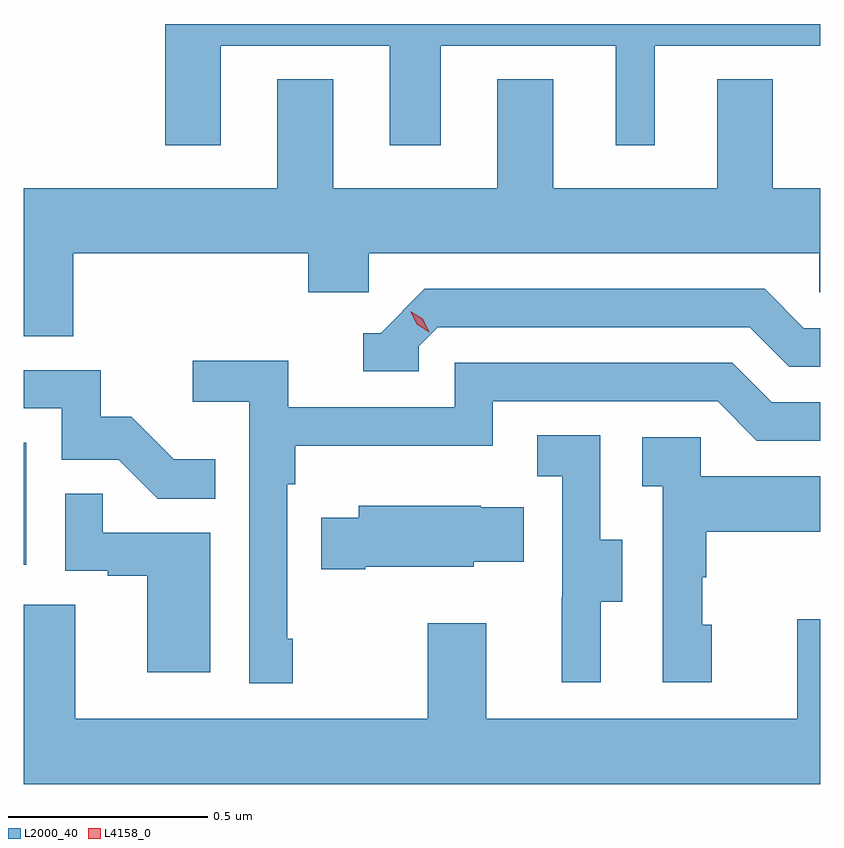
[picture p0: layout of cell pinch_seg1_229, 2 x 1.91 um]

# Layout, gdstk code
import gdstk
lib = gdstk.Library(unit=1e-6, precision=1e-09)
def R(c, l, rs):  # rectangles x0, y0, x1, y1
    for r in rs: c.add(gdstk.rectangle(r[:2], r[2:], *l))
def P(c, l, *ps):  # polygons
    for p in ps: c.add(gdstk.Polygon(p, *l))
L2000_40 = (2000, 40)
L4158_0 = (4158, 0)

pinch_seg1_229 = lib.new_cell('pinch_seg1_229')
R(pinch_seg1_229, L2000_40, [(995.314,564.27,995.32,564.577)])
P(pinch_seg1_229, L2000_40, [(995.809,565.574),(996.233,565.574),(996.233,565.323),(996.361,565.323),(996.361,565.574),(996.8,565.574),(996.8,565.323),(996.898,565.323),(996.898,565.574),(997.314,565.574),(997.314,565.628),(995.669,565.628),(995.669,565.323),(995.809,565.323)],
  [(995.438,565.052),(996.029,565.052),(996.029,564.954),(996.18,564.954),(996.18,565.052),(997.311,565.052),(997.311,564.954),(997.314,564.954),(997.314,565.216),(997.195,565.216),(997.195,565.489),(997.055,565.489),(997.055,565.216),(996.643,565.216),(996.643,565.489),(996.503,565.489),(996.503,565.216),(996.091,565.216),(996.091,565.489),(995.951,565.489),(995.951,565.216),(995.314,565.216),(995.314,564.844),(995.438,564.844)],
  [(996.306,564.819),(996.354,564.867),(997.137,564.867),(997.236,564.768),(997.314,564.768),(997.314,564.864),(997.273,564.864),(997.174,564.963),(996.321,564.963),(996.21,564.852),(996.167,564.852),(996.167,564.756),(996.306,564.756)],
  [(995.989,564.085),(995.976,564.085),(995.976,564.473),(995.996,564.473),(995.996,564.569),(996.492,564.569),(996.492,564.681),(997.056,564.681),(997.155,564.582),(997.314,564.582),(997.314,564.678),(997.192,564.678),(997.093,564.777),(996.396,564.777),(996.396,564.666),(995.978,564.666),(995.978,564.782),(995.739,564.782),(995.739,564.68),(995.88,564.68),(995.88,563.973),(995.989,563.973)],
  [(995.795,564.535),(995.691,564.535),(995.584,564.642),(995.508,564.642),(995.508,564.759),(995.314,564.759),(995.314,564.663),(995.409,564.663),(995.409,564.534),(995.553,564.534),(995.651,564.436),(995.795,564.436)],
  [(996.763,564.178),(996.817,564.178),(996.817,564.333),(996.762,564.333),(996.762,564.596),(996.603,564.596),(996.603,564.493),(996.666,564.493),(996.666,564.189),(996.665,564.189),(996.665,563.976),(996.763,563.976)],
  [(997.042,564.12),(997.017,564.12),(997.017,564.239),(997.027,564.239),(997.027,564.353),(997.314,564.353),(997.314,564.493),(997.014,564.493),(997.014,564.591),(996.867,564.591),(996.867,564.467),(996.918,564.467),(996.918,563.976),(997.042,563.976)],
  [(995.782,564.351),(995.513,564.351),(995.513,564.449),(995.418,564.449),(995.418,564.255),(995.525,564.255),(995.525,564.243),(995.624,564.243),(995.624,564),(995.782,564)],
  [(996.172,564.266),(996.444,564.266),(996.444,564.278),(996.569,564.278),(996.569,564.415),(996.461,564.415),(996.461,564.418),(996.155,564.418),(996.155,564.388),(996.061,564.388),(996.061,564.259),(996.172,564.259)],
  [(997.314,564.133),(997.256,564.133),(997.256,563.884),(996.475,563.884),(996.475,564.124),(996.328,564.124),(996.328,563.884),(995.443,563.884),(995.443,564.17),(995.314,564.17),(995.314,563.72),(997.314,563.72)])
P(pinch_seg1_229, L4158_0, [(996.332,564.854),(996.301,564.874),(996.284,564.907),(996.284,564.907),(996.285,564.907),(996.316,564.888),(996.332,564.855),(996.332,564.854)])

lib.write_gds('pinch_seg1_229.gds')
